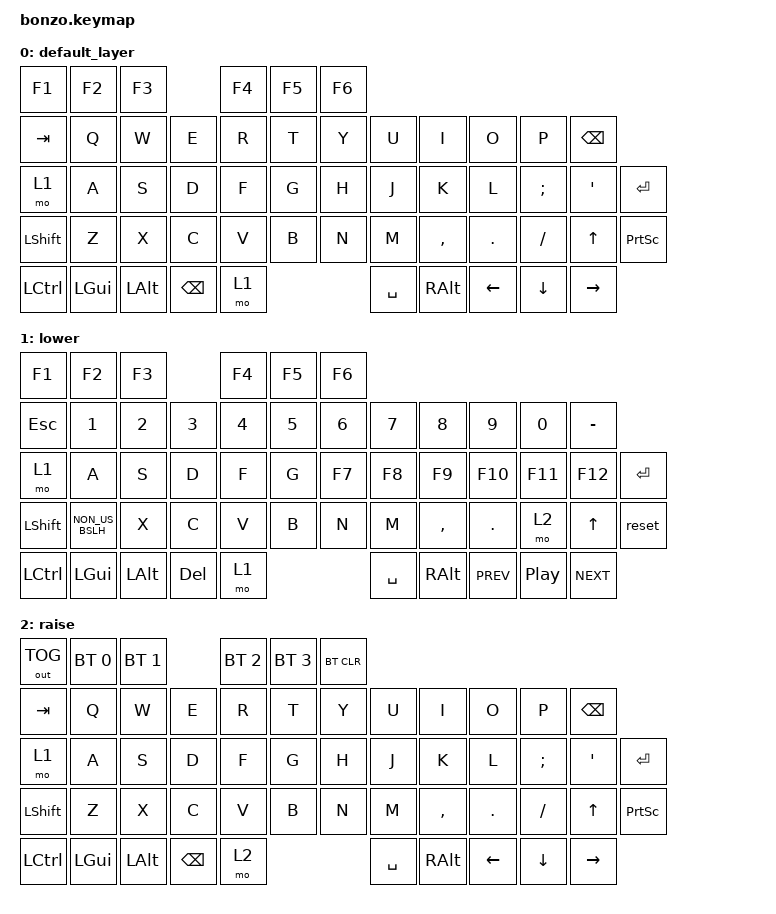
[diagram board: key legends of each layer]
/*
 * Copyright (c) 2020 The ZMK Contributors
 *
 * SPDX-License-Identifier: MIT
 */

#include <behaviors.dtsi>
#include <dt-bindings/zmk/keys.h>
#include <dt-bindings/zmk/bt.h>
#include <dt-bindings/zmk/outputs.h>


/ {
    keymap {
        compatible = "zmk,keymap";

        default_layer {
            bindings = <
                &kp F1      &kp F2              &kp F3    &kp F4   &kp F5   &kp F6 
                &kp TAB     &kp Q       &kp W     &kp E    &kp R    &kp T  &kp Y  &kp U    &kp I     &kp O   &kp P     &kp BSPC
                &mo 1       &kp A       &kp S     &kp D    &kp F    &kp G  &kp H  &kp J    &kp K     &kp L   &kp SEMI  &kp SQT   &kp RET
                &kp LSHFT   &kp Z       &kp X     &kp C    &kp V    &kp B  &kp N  &kp M    &kp COMMA &kp DOT &kp FSLH  &kp UP    &kp PSCRN
                &kp LCTRL   &kp LGUI    &kp LALT    &kp BSPC    &mo 1   &kp SPACE &kp RALT           &kp LEFT  &kp DOWN  &kp RIGHT 
            >;
        };

        lower {
            bindings = <
                &kp F1      &kp F2              &kp F3    &kp F4   &kp F5   &kp F6 
                &kp ESC     &kp N1              &kp N2    &kp N3   &kp N4   &kp N5 &kp N6 &kp N7  &kp N8       &kp N9       &kp N0          &kp MINUS
                &mo 1       &kp A               &kp S     &kp D    &kp F    &kp G  &kp F7  &kp F8    &kp F9    &kp F10      &kp F11         &kp F12   &kp RET
                &kp LSHFT   &kp NON_US_BSLH     &kp X     &kp C    &kp V    &kp B  &kp N  &kp M    &kp COMMA    &kp DOT     &mo 2           &kp UP    &reset
                &kp LCTRL   &kp LGUI            &kp LALT  &kp DEL  &mo 1    &kp SPACE     &kp RALT                          &kp C_PREV      &kp C_PP  &kp C_NEXT 
            >;
        };

        raise {
            bindings = <
                &out OUT_TOG &bt BT_SEL 0 &bt BT_SEL 1 &bt BT_SEL 2 &bt BT_SEL 3  &bt BT_CLR
                &kp TAB     &kp Q       &kp W     &kp E    &kp R    &kp T  &kp Y  &kp U    &kp I     &kp O   &kp P     &kp BSPC
                &mo 1       &kp A       &kp S     &kp D    &kp F    &kp G  &kp H  &kp J    &kp K     &kp L   &kp SEMI  &kp SQT   &kp RET
                &kp LSHFT   &kp Z       &kp X     &kp C    &kp V    &kp B  &kp N  &kp M    &kp COMMA &kp DOT &kp FSLH  &kp UP    &kp PSCRN
                &kp LCTRL   &kp LGUI    &kp LALT    &kp BSPC    &mo 2   &kp SPACE &kp RALT           &kp LEFT  &kp DOWN  &kp RIGHT 
            >;
        };

    };
};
